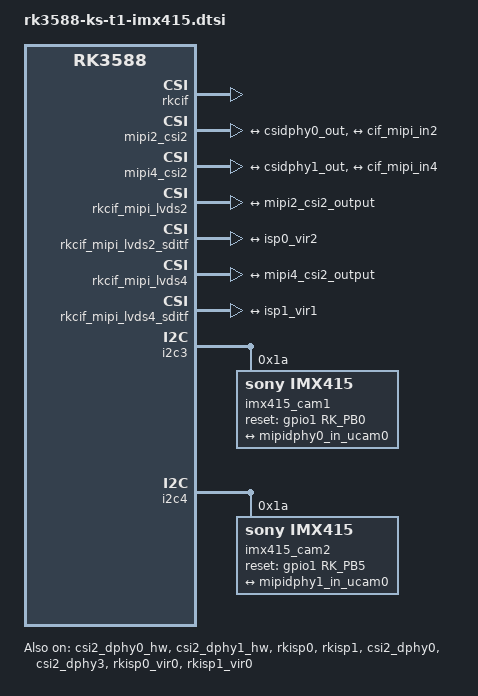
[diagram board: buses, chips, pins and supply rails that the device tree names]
// SPDX-License-Identifier: (GPL-2.0+ OR MIT)
/*
 * Copyright (c) 2022 Rockchip Electronics Co., Ltd.
 *
 */

&csi2_dphy0_hw {
	status = "okay";
};

&csi2_dphy1_hw {
	status = "okay";
};

&rkcif_mmu {
	status = "okay";
};

&rkisp0 {
	status = "okay";
};

&isp0_mmu {
	status = "okay";
};

&rkisp1 {
	status = "okay";
};

&isp1_mmu {
	status = "okay";
};

&rkcif {
	status = "okay";
};


&csi2_dphy0 {
	status = "okay";

	ports {
		#address-cells = <1>;
		#size-cells = <0>;
		port@0 {
			reg = <0>;
			#address-cells = <1>;
			#size-cells = <0>;

			mipidphy0_in_ucam0: endpoint@1 {
				reg = <1>;
				remote-endpoint = <&imx415_out0>;
				data-lanes = <1 2 3 4>;
			};
		};
		port@1 {
			reg = <1>;
			#address-cells = <1>;
			#size-cells = <0>;

			csidphy0_out: endpoint@0 {
				reg = <0>;
				remote-endpoint = <&mipi2_csi2_input>;
			};
		};
	};
};

&csi2_dphy3 {
	status = "okay";

	ports {
		#address-cells = <1>;
		#size-cells = <0>;
		port@0 {
			reg = <0>;
			#address-cells = <1>;
			#size-cells = <0>;

			mipidphy1_in_ucam0: endpoint@1 {
				reg = <1>;
				remote-endpoint = <&imx415_out1>;
				data-lanes = <1 2 3 4>;
			};
		};
		port@1 {
			reg = <1>;
			#address-cells = <1>;
			#size-cells = <0>;

			csidphy1_out: endpoint@0 {
				reg = <0>;
				remote-endpoint = <&mipi4_csi2_input>;
			};
		};
	};
};

&mipi2_csi2 {
	status = "okay";

	ports {
		#address-cells = <1>;
		#size-cells = <0>;

		port@0 {
			reg = <0>;
			#address-cells = <1>;
			#size-cells = <0>;

			mipi2_csi2_input: endpoint@1 {
				reg = <1>;
				remote-endpoint = <&csidphy0_out>;
			};
		};

		port@1 {
			reg = <1>;
			#address-cells = <1>;
			#size-cells = <0>;

			mipi2_csi2_output: endpoint@0 {
				reg = <0>;
				remote-endpoint = <&cif_mipi_in2>;
			};
		};
	};
};

&mipi4_csi2 {
	status = "okay";

	ports {
		#address-cells = <1>;
		#size-cells = <0>;

		port@0 {
			reg = <0>;
			#address-cells = <1>;
			#size-cells = <0>;

			mipi4_csi2_input: endpoint@1 {
				reg = <1>;
				remote-endpoint = <&csidphy1_out>;
			};
		};

		port@1 {
			reg = <1>;
			#address-cells = <1>;
			#size-cells = <0>;

			mipi4_csi2_output: endpoint@0 {
				reg = <0>;
				remote-endpoint = <&cif_mipi_in4>;
			};
		};
	};
};

&rkcif_mipi_lvds2 {
	status = "okay";

	port {
		cif_mipi_in2: endpoint {
			remote-endpoint = <&mipi2_csi2_output>;
		};
	};
};

&rkcif_mipi_lvds2_sditf {
	status = "okay";

	port {
		mipi_lvds2_sditf: endpoint {
			remote-endpoint = <&isp0_vir2>;
		};
	};
};

&rkcif_mipi_lvds4 {
	status = "okay";

	port {
		cif_mipi_in4: endpoint {
			remote-endpoint = <&mipi4_csi2_output>;
		};
	};
};

&rkcif_mipi_lvds4_sditf {
	status = "okay";

	port {
		mipi_lvds4_sditf: endpoint {
			remote-endpoint = <&isp1_vir1>;
		};
	};
};

&rkisp0_vir0 {
	status = "okay";

	port {
		#address-cells = <1>;
		#size-cells = <0>;

		isp0_vir2: endpoint@0 {
			reg = <0>;
			remote-endpoint = <&mipi_lvds2_sditf>;
		};
	};
};

&rkisp1_vir0 {
	status = "okay";

	port {
		#address-cells = <1>;
		#size-cells = <0>;

		isp1_vir1: endpoint@0 {
			reg = <0>;
			remote-endpoint = <&mipi_lvds4_sditf>;
		};
	};
};

&i2c3 {
	status = "okay";

	imx415_cam1: imx415-cam1@1a {
		compatible = "sony,imx415";
		reg = <0x1a>;
		clocks = <&cru CLK_MIPI_CAMARAOUT_M1>;
		clock-names = "xvclk";
		pinctrl-names = "default";
		pinctrl-0 = <&mipim0_camera1_clk>;
		power-domains = <&power RK3588_PD_VI>;
		reset-gpios = <&gpio1 RK_PB0 GPIO_ACTIVE_HIGH>;
		//avdd-supply = <&vcc_mipidphy0>;
		rockchip,camera-module-index = <0>;
		rockchip,camera-module-facing = "back";
		rockchip,camera-module-name = "CMK-OT2022-PX1";
		rockchip,camera-module-lens-name = "IR0147-50IRC-8M-F20";
		//lens-focus = <&cam_ircut0>;
		port {
			imx415_out0: endpoint {
				remote-endpoint = <&mipidphy0_in_ucam0>;
				data-lanes = <1 2 3 4>;
			};
		};
	};
};

&i2c4 {
	status = "okay";
	pinctrl-names = "default";
	pinctrl-0 = <&i2c4m3_xfer>;   // cam2 接到 i2c4_m3

	imx415_cam2: imx415-cam2@1a {
		compatible = "sony,imx415";
		reg = <0x1a>;
		clocks = <&cru CLK_MIPI_CAMARAOUT_M2>;
		clock-names = "xvclk";
		pinctrl-names = "default";
		pinctrl-0 = <&mipim0_camera2_clk>;
		power-domains = <&power RK3588_PD_VI>;
		reset-gpios = <&gpio1 RK_PB5 GPIO_ACTIVE_HIGH>;
		//avdd-supply = <&vcc_mipidphy0>;
		rockchip,camera-module-index = <0>;
		rockchip,camera-module-facing = "back";
		rockchip,camera-module-name = "CMK-OT2022-PX1";
		rockchip,camera-module-lens-name = "IR0147-50IRC-8M-F20";
		//lens-focus = <&cam_ircut0>;
		port {
			imx415_out1: endpoint {
				remote-endpoint = <&mipidphy1_in_ucam0>;
				data-lanes = <1 2 3 4>;
			};
		};
	};
};

